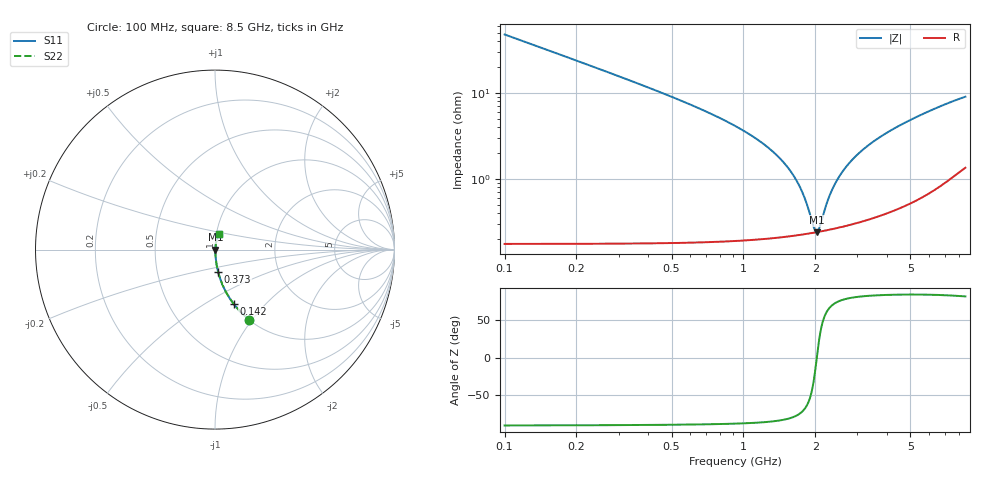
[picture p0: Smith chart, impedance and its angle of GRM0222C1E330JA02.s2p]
!Murata Part Number: GRM0222C1E330JA02
!These Parameters are Measured in Series Mode Connection
!Data Generated on Mar 30, 2021
!  o--ll--o
!Port1  Port2
!  o------o
!Operation Temp=25[degC], DC Bias Voltage=0[V]
!Freq. Start=100[MHz] Stop=9[GHz] 401[Steps]
# Hz S RI R 50
!Freq.(Hz) S11(Real) S11(Imag) S21(Real) S21(Imag) S12(Real) S12(Imag) S22(Real) S22(Imag)
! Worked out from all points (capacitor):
!   401 points, 100 MHz to 8.5 GHz, reference 50 ohm
!   read as one part in series: C = 33 pF near 142 MHz
!   lowest |Z| = 240 mohm at 2.032 GHz (marker M1)
!   series resonance near 2.028 GHz, so ESL is about 190 pH
!   S11 on the Smith chart (normalised r, x): 100 MHz: 1.00, -0.96; 142 MHz: 1.00, -0.68; 373 MHz: 1.00, -0.25; 8.5 GHz: 1.03, +0.18
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1e8  0.1888 -0.3896  0.8112 0.3896  0.8112 0.3896  0.1888 -0.3896
1.42e8  0.1038 -0.3024  0.8962 0.3024  0.8962 0.3024  0.1038 -0.3024
1.84e8  0.0647 -0.2427  0.9353 0.2427  0.9353 0.2427  0.0647 -0.2427
2.47e8  0.0372 -0.1849  0.9628 0.1849  0.9628 0.1849  0.0372 -0.1849
3.73e8  0.017 -0.1226  0.983 0.1226  0.983 0.1226  0.017 -0.1226
6.46e8  0.00627 -0.0665  0.9937 0.0665  0.9937 0.0665  0.00627 -0.0665
1.255e9  0.00256 -0.0236  0.9974 0.0236  0.9974 0.0236  0.00256 -0.0236
1.507e9  0.00232 -0.0142  0.9977 0.0142  0.9977 0.0142  0.00232 -0.0142
1.717e9  0.00228 -0.0079  0.9977 0.0079  0.9977 0.0079  0.00228 -0.0079
1.822e9  0.0023 -0.00507  0.9977 0.00507  0.9977 0.00507  0.0023 -0.00507
1.969e9  0.00236 -0.0014  0.9976 0.0014  0.9976 0.0014  0.00236 -0.0014
2.032e9  0.00239 8.4e-05  0.9976 -8.4e-05  0.9976 -8.4e-05  0.00239 8.4e-05
2.095e9  0.00243 0.00152  0.9976 -0.00152  0.9976 -0.00152  0.00243 0.00152
2.263e9  0.00256 0.00516  0.9974 -0.00516  0.9974 -0.00516  0.00256 0.00516
2.41e9  0.0027 0.00815  0.9973 -0.00815  0.9973 -0.00815  0.0027 0.00815
2.62e9  0.00292 0.0122  0.9971 -0.0122  0.9971 -0.0122  0.00292 0.0122
2.914e9  0.0033 0.0174  0.9967 -0.0174  0.9967 -0.0174  0.0033 0.0174
3.502e9  0.00421 0.0268  0.9958 -0.0268  0.9958 -0.0268  0.00421 0.0268
4.3e9  0.00576 0.0384  0.9942 -0.0384  0.9942 -0.0384  0.00576 0.0384
5.707e9  0.00947 0.0567  0.9905 -0.0567  0.9905 -0.0567  0.00947 0.0567
7.114e9  0.0147 0.073  0.9853 -0.073  0.9853 -0.073  0.0147 0.073
8.5e9  0.021 0.0866  0.979 -0.0866  0.979 -0.0866  0.021 0.0866
